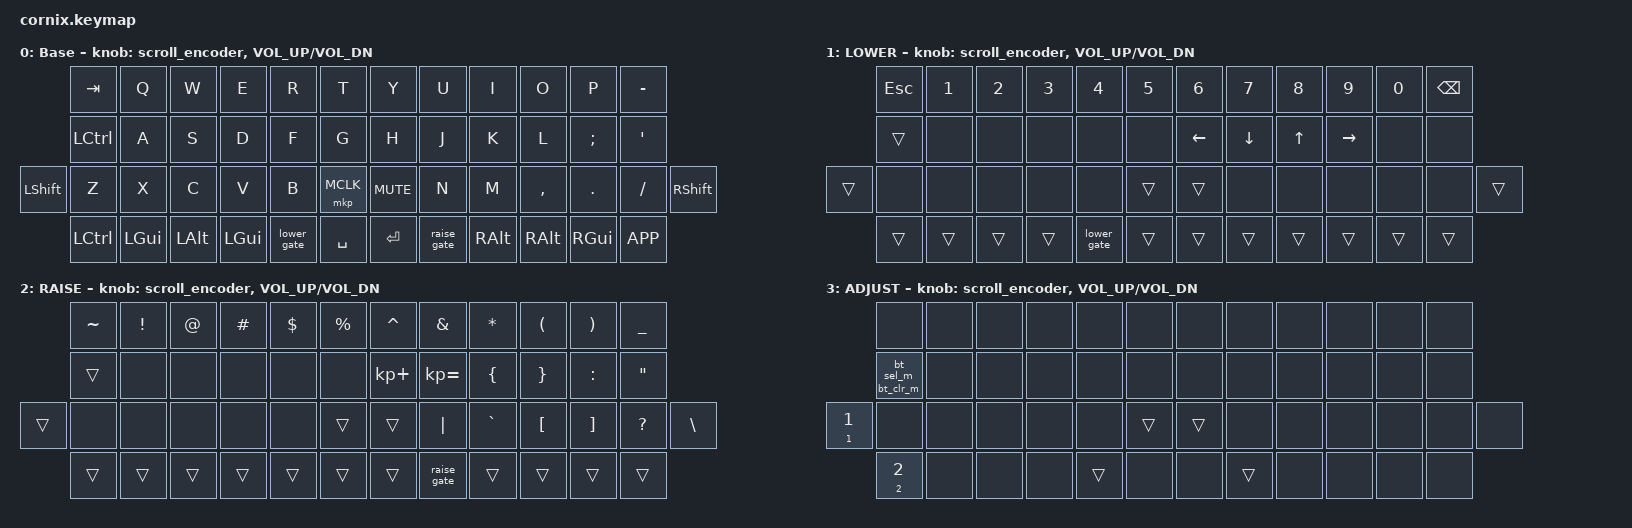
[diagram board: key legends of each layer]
/*
 * Copyright (c) 2020 The ZMK Contributors
 *
 * SPDX-License-Identifier: MIT
 */

/*
 * 2026-09-12: Migrated from the RMK v1.12 / Vial keymap the user was
 * actually running on hardware (reference/20260905_cornix.vil, 4 real
 * layers: Base / LOWER / RAISE / ADJUST; Layers 4-9 in the .vil are
 * KC_NO-only with no reachable layer switch, combo, tap-dance, macro or
 * user key pointing at them, so they are intentionally not ported — see
 * MIGRATION.md). Layer 0-3 keys are carried over 1:1 by physical position.
 *
 * LOWER/RAISE replace the RMK Tap Dance (TD(0)/TD(1), term 175ms,
 * tap=LANG2/LANG1, hold=MO(1)/MO(2)) and the TD(0)+TD(1) combo (->MO(3))
 * with the dedicated `cornix_layer_gate` out-of-tree behavior
 * (dts/behaviors/cornix_layer_gate.dtsi, src/behaviors/behavior_cornix_layer_gate.c):
 * the target layer activates the instant the key goes down (not after a
 * tap-term wait), and a LANG1/LANG2 tap is only sent on release if no
 * other physical key was pressed while held and the hold was under the
 * new 350ms tap-term. ADJUST (ex-MO(3)) is Layer 3, entered via a
 * standard `conditional_layers` tri-layer (if-layers = <1 2>) below,
 * matching upstream ZMK convention rather than a hand-rolled layer stack.
 *
 * USER00/USER01/USER02 on the .vil's Layer 3 were the RMK/Vial Bluetooth
 * profile-slot selection keys; they are ported to `&bt_prof 0/1/2`, which
 * also carries RMK's hold-5s-to-unpair gesture (see the behavior below).
 *
 * Positions unchanged from Base (LOWER/RAISE/ADJUST held modifiers,
 * left/right inner-thumb mouse-click/mute keys) are expressed as &trans
 * rather than repeating the same &kp, which is behavior-identical to how
 * the .vil re-lists them per layer.
 *
 * ZMK Studio interaction:
 *   - Studio overrides per-layer `bindings` via NVS at runtime; the
 *     `bindings` here are the post-reset / pre-Studio-edit defaults.
 *   - Studio does NOT cover `sensor-bindings` (encoders), conditional_layers,
 *     or behaviors - those keep being controlled by this file at runtime
 *     regardless of Studio state.
 */

#include <behaviors.dtsi>
#include <dt-bindings/zmk/bt.h>
#include <dt-bindings/zmk/keys.h>
#include <dt-bindings/zmk/pointing.h>
#include <behaviors/cornix_layer_gate.dtsi>

/ {
    behaviors {
        scroll_encoder: scroll_encoder {
            compatible = "zmk,behavior-sensor-rotate";
            #sensor-binding-cells = <0>;
            bindings = <&msc SCRL_UP>, <&msc SCRL_DOWN>;
        };

        /*
         * BT profile key: tap to switch, hold 5 s to unpair.
         *
         * This reproduces RMK's gesture (hold the profile key for 5 s to
         * drop that profile's bond and start advertising for a new host).
         * It matters because a bond lives on the keyboard as well as on the
         * host: forgetting the keyboard on the Mac does not free the slot,
         * ZMK then rejects the new pairing attempt
         * (BT_SECURITY_ERR_PAIR_NOT_ALLOWED in app/src/ble.c) and only
         * advertises to the old peer, so the profile looks permanently
         * stuck. Without a BT_CLR binding the only way out was reflashing
         * settings_reset, which also wipes the keymap.
         *
         * BT_CLR acts on whichever profile is *active*, so the hold side
         * has to select the target profile first — hence the macro pair
         * rather than a bare <&bt BT_CLR>.
         */
        bt_sel_m: bt_sel_m {
            compatible = "zmk,behavior-macro-one-param";
            #binding-cells = <1>;
            display-name = "BT Select";
            bindings = <&macro_param_1to2 &bt BT_SEL MACRO_PLACEHOLDER>;
        };

        bt_clr_m: bt_clr_m {
            compatible = "zmk,behavior-macro-one-param";
            #binding-cells = <1>;
            display-name = "BT Select + Clear";
            bindings
                = <&macro_param_1to2 &bt BT_SEL MACRO_PLACEHOLDER>
                , <&bt BT_CLR>;
        };

        /*
         * tap-preferred: only the 5 s timer resolves to hold. Pressing
         * other keys while this is held cannot trigger the unpair
         * (decide_tap_preferred() in behavior_hold_tap.c handles just
         * HT_KEY_UP / HT_TIMER_EVENT / HT_QUICK_TAP), which is what we
         * want for a destructive action.
         *
         * Invoked as `&bt_prof N N` — the first N goes to the hold
         * binding, the second to the tap binding.
         */
        bt_prof: bt_prof {
            compatible = "zmk,behavior-hold-tap";
            #binding-cells = <2>;
            display-name = "BT Profile";
            flavor = "tap-preferred";
            tapping-term-ms = <5000>;
            bindings = <&bt_clr_m>, <&bt_sel_m>;
        };
    };

    conditional_layers {
        compatible = "zmk,conditional-layers";
        tri_layer {
            if-layers = <1 2>;
            then-layer = <3>;
        };
    };

    keymap {
        compatible = "zmk,keymap";

        Base {
            display-name = "Base";
            bindings = <
&kp TAB &kp Q &kp W &kp E &kp R &kp T   &kp Y &kp U &kp I &kp O &kp P &kp MINUS
&kp LCTRL &kp A &kp S &kp D &kp F &kp G   &kp H &kp J &kp K &kp L &kp SEMI &kp SQT
&kp LSHFT &kp Z &kp X &kp C &kp V &kp B   &mkp MCLK &kp C_MUTE   &kp N &kp M &kp COMMA &kp DOT &kp FSLH &kp RSHFT
&kp LCTRL &kp LGUI &kp LALT &kp LGUI &lower_gate &kp SPACE   &kp RET &raise_gate &kp RALT &kp RALT &kp RGUI &kp K_APP
            >;
            sensor-bindings = <&scroll_encoder &inc_dec_kp C_VOL_UP C_VOL_DN>;
        };

        LOWER {
            display-name = "LOWER";
            bindings = <
&kp ESC &kp N1 &kp N2 &kp N3 &kp N4 &kp N5   &kp N6 &kp N7 &kp N8 &kp N9 &kp N0 &kp BSPC
&trans &none &none &none &none &none   &kp LEFT &kp DOWN &kp UP &kp RIGHT &none &none
&trans &none &none &none &none &none   &trans &trans   &none &none &none &none &none &trans
&trans &trans &trans &trans &lower_gate &trans   &trans &trans &trans &trans &trans &trans
            >;
            sensor-bindings = <&scroll_encoder &inc_dec_kp C_VOL_UP C_VOL_DN>;
        };

        RAISE {
            display-name = "RAISE";
            bindings = <
&kp TILDE &kp EXCLAMATION &kp AT_SIGN &kp HASH &kp DOLLAR &kp PERCENT   &kp CARET &kp AMPERSAND &kp ASTERISK &kp LEFT_PARENTHESIS &kp RIGHT_PARENTHESIS &kp UNDERSCORE
&trans &none &none &none &none &none   &kp KP_PLUS &kp KP_EQUAL &kp LEFT_BRACE &kp RIGHT_BRACE &kp COLON &kp DOUBLE_QUOTES
&trans &none &none &none &none &none   &trans &trans   &kp PIPE &kp GRAVE &kp LBKT &kp RBKT &kp QUESTION &kp BSLH
&trans &trans &trans &trans &trans &trans   &trans &raise_gate &trans &trans &trans &trans
            >;
            sensor-bindings = <&scroll_encoder &inc_dec_kp C_VOL_UP C_VOL_DN>;
        };

        ADJUST {
            display-name = "ADJUST";
            bindings = <
&none &none &none &none &none &none   &none &none &none &none &none &none
&bt_prof 0 0 &none &none &none &none &none   &none &none &none &none &none &none
&bt_prof 1 1 &none &none &none &none &none   &trans &trans   &none &none &none &none &none &none
&bt_prof 2 2 &none &none &none &trans &none   &none &trans &none &none &none &none
            >;
            sensor-bindings = <&scroll_encoder &inc_dec_kp C_VOL_UP C_VOL_DN>;
        };
    };
};
